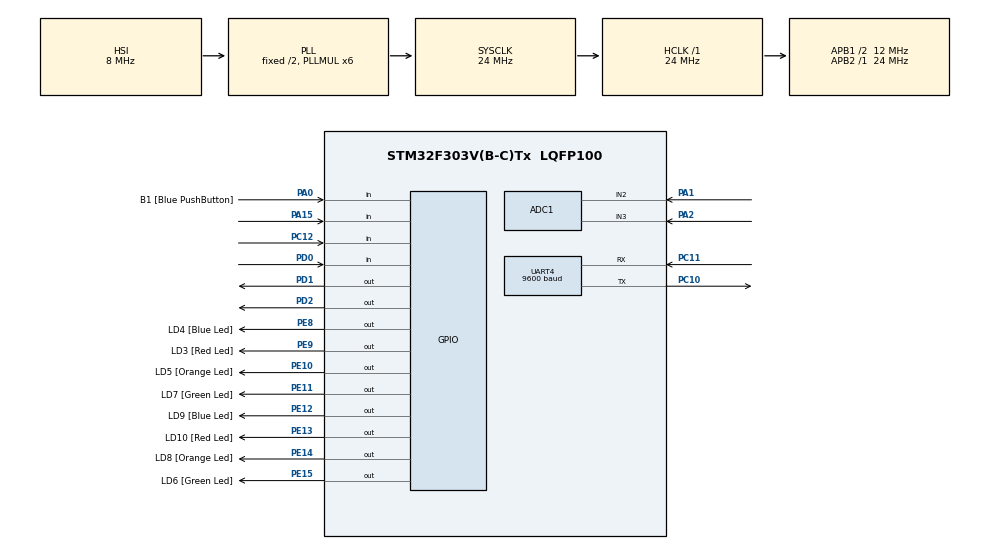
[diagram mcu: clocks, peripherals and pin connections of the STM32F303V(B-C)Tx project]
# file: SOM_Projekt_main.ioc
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ADC1.Channel-0\#ChannelRegularConversion=ADC_CHANNEL_2
ADC1.Channel-1\#ChannelRegularConversion=ADC_CHANNEL_3
ADC1.Channel-2\#ChannelRegularConversion=ADC_CHANNEL_TEMPSENSOR
ADC1.Channel-3\#ChannelRegularConversion=ADC_CHANNEL_VREFINT
ADC1.EOCSelection=ADC_EOC_SEQ_CONV
ADC1.NbrOfConversion=4
ADC1.NbrOfConversionFlag=1
ADC1.Offset-0\#ChannelRegularConversion=0
ADC1.Offset-1\#ChannelRegularConversion=0
ADC1.Offset-2\#ChannelRegularConversion=0
ADC1.Offset-3\#ChannelRegularConversion=0
ADC1.OffsetNumber-0\#ChannelRegularConversion=ADC_OFFSET_NONE
ADC1.OffsetNumber-1\#ChannelRegularConversion=ADC_OFFSET_NONE
ADC1.OffsetNumber-2\#ChannelRegularConversion=ADC_OFFSET_NONE
ADC1.OffsetNumber-3\#ChannelRegularConversion=ADC_OFFSET_NONE
ADC1.Rank-0\#ChannelRegularConversion=1
ADC1.Rank-1\#ChannelRegularConversion=2
ADC1.Rank-2\#ChannelRegularConversion=3
ADC1.Rank-3\#ChannelRegularConversion=4
ADC1.SamplingTime-0\#ChannelRegularConversion=ADC_SAMPLETIME_1CYCLE_5
ADC1.SamplingTime-1\#ChannelRegularConversion=ADC_SAMPLETIME_1CYCLE_5
ADC1.SamplingTime-2\#ChannelRegularConversion=ADC_SAMPLETIME_1CYCLE_5
ADC1.SamplingTime-3\#ChannelRegularConversion=ADC_SAMPLETIME_1CYCLE_5
ADC1.master=1
FREERTOS.BinarySemaphores01=SemaphoreA,Dynamic,NULL;SemaphoreB,Dynamic,NULL
FREERTOS.Mutexes01=MemoryMutex,Dynamic,NULL
FREERTOS.Queues01=InternalProtocol,32,uint16_t,0,Dynamic,NULL,NULL;ReturnMessage,16,uint16_t,0,Dynamic,NULL,NULL
FREERTOS.Tasks01=SupervisorTask,0,512,StartSupervisorTask,Default,NULL,Dynamic,NULL,NULL;ExecTask,-3,512,startExecTask,Default,NULL,Dynamic,NULL,NULL;ADCTask,-3,128,StartADCTask,Default,NULL,Dynamic,NULL,NULL
FREERTOS.configTOTAL_HEAP_SIZE=7000
Mcu.Family=STM32F3
Mcu.Name=STM32F303V(B-C)Tx
Mcu.Package=LQFP100
NVIC.PriorityGroup=NVIC_PRIORITYGROUP_4
NVIC.TIM1_BRK_TIM15_IRQn=true\:0\:0\:false\:false\:true\:false\:false
NVIC.TIM2_IRQn=true\:5\:0\:false\:false\:true\:true\:true
NVIC.TimeBase=TIM1_BRK_TIM15_IRQn
NVIC.TimeBaseIP=TIM15
NVIC.UART4_IRQn=true\:5\:0\:false\:false\:true\:true\:true
PA0.GPIO_Label=B1 [Blue PushButton]
PA0.Signal=GPIO_Input
PA1.Mode=IN2-Single-Ended
PA1.Signal=ADC1_IN2
PA13.GPIO_Label=SWDIO
PA13.Mode=Serial_Wire
PA13.Signal=SYS_JTMS-SWDIO
PA14.GPIO_Label=SWCLK
PA14.Mode=Serial_Wire
PA14.Signal=SYS_JTCK-SWCLK
PA15.Signal=GPIO_Input
PA2.Mode=IN3-Single-Ended
PA2.Signal=ADC1_IN3
PC10.Mode=Asynchronous
PC10.Signal=UART4_TX
PC11.Mode=Asynchronous
PC11.Signal=UART4_RX
PC12.Signal=GPIO_Input
PD0.Signal=GPIO_Input
PD1.GPIO_PuPd=GPIO_PULLDOWN
PD1.Signal=GPIO_Output
PD2.GPIO_PuPd=GPIO_PULLDOWN
PD2.Signal=GPIO_Output
PE10.GPIO_Label=LD5 [Orange Led]
PE10.Signal=GPIO_Output
PE11.GPIO_Label=LD7 [Green Led]
PE11.Signal=GPIO_Output
PE12.GPIO_Label=LD9 [Blue Led]
PE12.Signal=GPIO_Output
PE13.GPIO_Label=LD10 [Red Led]
PE13.Signal=GPIO_Output
PE14.GPIO_Label=LD8 [Orange Led]
PE14.Signal=GPIO_Output
PE15.GPIO_Label=LD6 [Green Led]
PE15.Signal=GPIO_Output
PE8.GPIO_Label=LD4 [Blue Led]
PE8.Signal=GPIO_Output
PE9.GPIO_Label=LD3 [Red Led]
PE9.Signal=GPIO_Output
ProjectManager.HeapSize=0x200
ProjectManager.StackSize=0x400
ProjectManager.TargetToolchain=SW4STM32
RCC.AHBFreq_Value=24000000
RCC.APB1CLKDivider=RCC_HCLK_DIV2
RCC.APB1Freq_Value=12000000
RCC.APB1TimFreq_Value=24000000
RCC.APB2Freq_Value=24000000
RCC.APB2TimFreq_Value=24000000
RCC.CortexFreq_Value=24000000
RCC.HCLKFreq_Value=24000000
RCC.HSE_VALUE=8000000
RCC.HSI_VALUE=8000000
RCC.LSE_VALUE=32768
RCC.PLLMUL=RCC_PLL_MUL6
RCC.SYSCLKFreq_VALUE=24000000
RCC.SYSCLKSourceVirtual=RCC_SYSCLKSOURCE_PLLCLK
RCC.USBFreq_Value=24000000
TIM2.Channel-Output\ Compare1\ No\ Output=TIM_CHANNEL_1
TIM2.Period=19999
TIM2.Prescaler=239
UART4.BaudRate=9600
VP_ADC1_TempSens_Input.Mode=IN-TempSens
VP_ADC1_Vref_Input.Mode=IN-Vrefint
VP_FREERTOS_VS_ENABLE.Mode=Enabled
VP_SYS_VS_tim15.Mode=TIM15
VP_TIM2_VS_ClockSourceINT.Mode=Internal
VP_TIM2_VS_no_output1.Mode=Output Compare1 No Output
board=STM32F3DISCOVERY

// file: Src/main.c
/* USER CODE BEGIN Header */
/**
 ******************************************************************************
 * @file           : main.c
 * @brief          : Main program body
 ******************************************************************************
 * This notice applies to any and all portions of this file
 * that are not between comment pairs USER CODE BEGIN and
 * USER CODE END. Other portions of this file, whether
 * inserted by the user or by software development tools
 * are owned by their respective copyright owners.
 *
 * Copyright (c) 2019 STMicroelectronics International N.V.
 * All rights reserved.
 *
 * Redistribution and use in source and binary forms, with or without
 * modification, are permitted, provided that the following conditions are met:
 *
 * 1. Redistribution of source code must retain the above copyright notice,
 *    this list of conditions and the following disclaimer.
 * 2. Redistributions in binary form must reproduce the above copyright notice,
 *    this list of conditions and the following disclaimer in the documentation
 *    and/or other materials provided with the distribution.
 * 3. Neither the name of STMicroelectronics nor the names of other
 *    contributors to this software may be used to endorse or promote products
 *    derived from this software without specific written permission.
 * 4. This software, including modifications and/or derivative works of this
 *    software, must execute solely and exclusively on microcontroller or
 *    microprocessor devices manufactured by or for STMicroelectronics.
 * 5. Redistribution and use of this software other than as permitted under
 *    this license is void and will automatically terminate your rights under
 *    this license.
 *
 * THIS SOFTWARE IS PROVIDED BY STMICROELECTRONICS AND CONTRIBUTORS "AS IS"
 * AND ANY EXPRESS, IMPLIED OR STATUTORY WARRANTIES, INCLUDING, BUT NOT
 * LIMITED TO, THE IMPLIED WARRANTIES OF MERCHANTABILITY, FITNESS FOR A
 * PARTICULAR PURPOSE AND NON-INFRINGEMENT OF THIRD PARTY INTELLECTUAL PROPERTY
 * RIGHTS ARE DISCLAIMED TO THE FULLEST EXTENT PERMITTED BY LAW. IN NO EVENT
 * SHALL STMICROELECTRONICS OR CONTRIBUTORS BE LIABLE FOR ANY DIRECT, INDIRECT,
 * INCIDENTAL, SPECIAL, EXEMPLARY, OR CONSEQUENTIAL DAMAGES (INCLUDING, BUT NOT
 * LIMITED TO, PROCUREMENT OF SUBSTITUTE GOODS OR SERVICES; LOSS OF USE, DATA,
 * OR PROFITS; OR BUSINESS INTERRUPTION) HOWEVER CAUSED AND ON ANY THEORY OF
 * LIABILITY, WHETHER IN CONTRACT, STRICT LIABILITY, OR TORT (INCLUDING
 * NEGLIGENCE OR OTHERWISE) ARISING IN ANY WAY OUT OF THE USE OF THIS SOFTWARE,
 * EVEN IF ADVISED OF THE POSSIBILITY OF SUCH DAMAGE.
 *
 ******************************************************************************
 */
/* USER CODE END Header */

#include "main.h"
#include "cmsis_os.h"

/* USER CODE BEGIN Includes */
#include "Common_data.h"
#include <string.h>
#include <stdio.h>
#include "Communication.h"
/* USER CODE END Includes */

ADC_HandleTypeDef hadc1;

TIM_HandleTypeDef htim2;

UART_HandleTypeDef huart4;

osThreadId SupervisorTaskHandle;
osThreadId ExecTaskHandle;
osThreadId ADCTaskHandle;
osMessageQId InternalProtocolHandle;
osMessageQId ReturnMessageHandle;
osMutexId MemoryMutexHandle;
osSemaphoreId SemaphoreAHandle;
osSemaphoreId SemaphoreBHandle;

void SystemClock_Config(void);
static void MX_GPIO_Init(void);
static void MX_ADC1_Init(void);
static void MX_UART4_Init(void);
static void MX_TIM2_Init(void);
void StartSupervisorTask(void const * argument);
void startExecTask(void const * argument);
void StartADCTask(void const * argument);

/* USER CODE BEGIN 0 */
#define C  4
#define R  10
uint16_t CMD = 0x0A;
uint16_t PomiarADC = 0;
/* W tab DanePomiarowe - [0] - ADC1, [1] - ADC2, [2] - TS, [3] - VREF */
uint16_t DanePomiarowe [C][R];
uint16_t DataMean [C][1];							/* Tablica na licznie sredniej */
uint16_t DataShare[4][2];
uint16_t *ptrDataMean = &DataMean[0][0];
uint16_t *ptrDanePomiarowe = &DanePomiarowe[0][0];
uint16_t *ptrDataShare = &DataShare[0][0];

uint8_t GlobalCounter = 0;							/* licznik do uzupelniania tablicy */
uint8_t MeasureCounter = 0; 						/* licznik do zmiany kolumny grupy pomiaru pomiaru */

/* USER CODE END 0 */

int main(void)
{

  /* MCU Configuration--------------------------------------------------------*/

  /* Reset of all peripherals, Initializes the Flash interface and the Systick. */
  HAL_Init();

  /* Configure the system clock */
  SystemClock_Config();

  /* Initialize all configured peripherals */
  MX_GPIO_Init();
  MX_ADC1_Init();
  MX_UART4_Init();
  MX_TIM2_Init();

  /* Create the mutex(es) */
  /* definition and creation of MemoryMutex */
  osMutexDef(MemoryMutex);
  MemoryMutexHandle = osMutexCreate(osMutex(MemoryMutex));

  /* Create the semaphores(s) */
  /* definition and creation of SemaphoreA */
  osSemaphoreDef(SemaphoreA);
  SemaphoreAHandle = osSemaphoreCreate(osSemaphore(SemaphoreA), 1);

  /* definition and creation of SemaphoreB */
  osSemaphoreDef(SemaphoreB);
  SemaphoreBHandle = osSemaphoreCreate(osSemaphore(SemaphoreB), 1);

  /* Create the thread(s) */
  /* definition and creation of SupervisorTask */
  osThreadDef(SupervisorTask, StartSupervisorTask, osPriorityNormal, 0, 512);
  SupervisorTaskHandle = osThreadCreate(osThread(SupervisorTask), NULL);

  /* definition and creation of ExecTask */
  osThreadDef(ExecTask, startExecTask, osPriorityIdle, 0, 512);
  ExecTaskHandle = osThreadCreate(osThread(ExecTask), NULL);

  /* definition and creation of ADCTask */
  osThreadDef(ADCTask, StartADCTask, osPriorityIdle, 0, 128);
  ADCTaskHandle = osThreadCreate(osThread(ADCTask), NULL);

  /* Create the queue(s) */
  /* definition and creation of InternalProtocol */
  osMessageQDef(InternalProtocol, 32, uint16_t);
  InternalProtocolHandle = osMessageCreate(osMessageQ(InternalProtocol), NULL);

  /* definition and creation of ReturnMessage */
  osMessageQDef(ReturnMessage, 16, uint16_t);
  ReturnMessageHandle = osMessageCreate(osMessageQ(ReturnMessage), NULL);

  /* Start scheduler */
  osKernelStart();

  /* We should never get here as control is now taken by the scheduler */

  /* Infinite loop */
	while (1)
	{

	}
}

void SystemClock_Config(void)
{
  RCC_OscInitTypeDef RCC_OscInitStruct = {0};
  RCC_ClkInitTypeDef RCC_ClkInitStruct = {0};
  RCC_PeriphCLKInitTypeDef PeriphClkInit = {0};

  /**Initializes the CPU, AHB and APB busses clocks
  */
  RCC_OscInitStruct.OscillatorType = RCC_OSCILLATORTYPE_HSI;
  RCC_OscInitStruct.HSIState = RCC_HSI_ON;
  RCC_OscInitStruct.HSICalibrationValue = RCC_HSICALIBRATION_DEFAULT;
  RCC_OscInitStruct.PLL.PLLState = RCC_PLL_ON;
  RCC_OscInitStruct.PLL.PLLSource = RCC_PLLSOURCE_HSI;
  RCC_OscInitStruct.PLL.PLLMUL = RCC_PLL_MUL6;
  if (HAL_RCC_OscConfig(&RCC_OscInitStruct) != HAL_OK)
  {
    Error_Handler();
  }
  /**Initializes the CPU, AHB and APB busses clocks
  */
  RCC_ClkInitStruct.ClockType = RCC_CLOCKTYPE_HCLK|RCC_CLOCKTYPE_SYSCLK
                              |RCC_CLOCKTYPE_PCLK1|RCC_CLOCKTYPE_PCLK2;
  RCC_ClkInitStruct.SYSCLKSource = RCC_SYSCLKSOURCE_PLLCLK;
  RCC_ClkInitStruct.AHBCLKDivider = RCC_SYSCLK_DIV1;
  RCC_ClkInitStruct.APB1CLKDivider = RCC_HCLK_DIV2;
  RCC_ClkInitStruct.APB2CLKDivider = RCC_HCLK_DIV1;

  if (HAL_RCC_ClockConfig(&RCC_ClkInitStruct, FLASH_LATENCY_0) != HAL_OK)
  {
    Error_Handler();
  }
  PeriphClkInit.PeriphClockSelection = RCC_PERIPHCLK_UART4|RCC_PERIPHCLK_ADC12;
  PeriphClkInit.Uart4ClockSelection = RCC_UART4CLKSOURCE_PCLK1;
  PeriphClkInit.Adc12ClockSelection = RCC_ADC12PLLCLK_DIV1;
  if (HAL_RCCEx_PeriphCLKConfig(&PeriphClkInit) != HAL_OK)
  {
    Error_Handler();
  }
}

static void MX_ADC1_Init(void)
{

  ADC_MultiModeTypeDef multimode = {0};
  ADC_ChannelConfTypeDef sConfig = {0};

  /**Common config
  */
  hadc1.Instance = ADC1;
  hadc1.Init.ClockPrescaler = ADC_CLOCK_ASYNC_DIV1;
  hadc1.Init.Resolution = ADC_RESOLUTION_12B;
  hadc1.Init.ScanConvMode = ADC_SCAN_ENABLE;
  hadc1.Init.ContinuousConvMode = DISABLE;
  hadc1.Init.DiscontinuousConvMode = DISABLE;
  hadc1.Init.ExternalTrigConvEdge = ADC_EXTERNALTRIGCONVEDGE_NONE;
  hadc1.Init.ExternalTrigConv = ADC_SOFTWARE_START;
  hadc1.Init.DataAlign = ADC_DATAALIGN_RIGHT;
  hadc1.Init.NbrOfConversion = 4;
  hadc1.Init.DMAContinuousRequests = DISABLE;
  hadc1.Init.EOCSelection = ADC_EOC_SEQ_CONV;
  hadc1.Init.LowPowerAutoWait = DISABLE;
  hadc1.Init.Overrun = ADC_OVR_DATA_OVERWRITTEN;
  if (HAL_ADC_Init(&hadc1) != HAL_OK)
  {
    Error_Handler();
  }
  /**Configure the ADC multi-mode
  */
  multimode.Mode = ADC_MODE_INDEPENDENT;
  if (HAL_ADCEx_MultiModeConfigChannel(&hadc1, &multimode) != HAL_OK)
  {
    Error_Handler();
  }
  /**Configure Regular Channel
  */
  sConfig.Channel = ADC_CHANNEL_2;
  sConfig.Rank = ADC_REGULAR_RANK_1;
  sConfig.SingleDiff = ADC_SINGLE_ENDED;
  sConfig.SamplingTime = ADC_SAMPLETIME_1CYCLE_5;
  sConfig.OffsetNumber = ADC_OFFSET_NONE;
  sConfig.Offset = 0;
  if (HAL_ADC_ConfigChannel(&hadc1, &sConfig) != HAL_OK)
  {
    Error_Handler();
  }
  /**Configure Regular Channel
  */
  sConfig.Channel = ADC_CHANNEL_3;
  sConfig.Rank = ADC_REGULAR_RANK_2;
  if (HAL_ADC_ConfigChannel(&hadc1, &sConfig) != HAL_OK)
  {
    Error_Handler();
  }
  /**Configure Regular Channel
  */
  sConfig.Channel = ADC_CHANNEL_TEMPSENSOR;
  sConfig.Rank = ADC_REGULAR_RANK_3;
  if (HAL_ADC_ConfigChannel(&hadc1, &sConfig) != HAL_OK)
  {
    Error_Handler();
  }
  /**Configure Regular Channel
  */
  sConfig.Channel = ADC_CHANNEL_VREFINT;
  sConfig.Rank = ADC_REGULAR_RANK_4;
  if (HAL_ADC_ConfigChannel(&hadc1, &sConfig) != HAL_OK)
  {
    Error_Handler();
  }

}

static void MX_TIM2_Init(void)
{

  TIM_ClockConfigTypeDef sClockSourceConfig = {0};
  TIM_MasterConfigTypeDef sMasterConfig = {0};
  TIM_OC_InitTypeDef sConfigOC = {0};

  htim2.Instance = TIM2;
  htim2.Init.Prescaler = 239;
  htim2.Init.CounterMode = TIM_COUNTERMODE_UP;
  htim2.Init.Period = 19999;
  htim2.Init.ClockDivision = TIM_CLOCKDIVISION_DIV1;
  htim2.Init.AutoReloadPreload = TIM_AUTORELOAD_PRELOAD_DISABLE;
  if (HAL_TIM_Base_Init(&htim2) != HAL_OK)
  {
    Error_Handler();
  }
  sClockSourceConfig.ClockSource = TIM_CLOCKSOURCE_INTERNAL;
  if (HAL_TIM_ConfigClockSource(&htim2, &sClockSourceConfig) != HAL_OK)
  {
    Error_Handler();
  }
  if (HAL_TIM_OC_Init(&htim2) != HAL_OK)
  {
    Error_Handler();
  }
  sMasterConfig.MasterOutputTrigger = TIM_TRGO_RESET;
  sMasterConfig.MasterSlaveMode = TIM_MASTERSLAVEMODE_DISABLE;
  if (HAL_TIMEx_MasterConfigSynchronization(&htim2, &sMasterConfig) != HAL_OK)
  {
    Error_Handler();
  }
  sConfigOC.OCMode = TIM_OCMODE_TIMING;
  sConfigOC.Pulse = 0;
  sConfigOC.OCPolarity = TIM_OCPOLARITY_HIGH;
  sConfigOC.OCFastMode = TIM_OCFAST_DISABLE;
  if (HAL_TIM_OC_ConfigChannel(&htim2, &sConfigOC, TIM_CHANNEL_1) != HAL_OK)
  {
    Error_Handler();
  }

}

static void MX_UART4_Init(void)
{

  huart4.Instance = UART4;
  huart4.Init.BaudRate = 9600;
  huart4.Init.WordLength = UART_WORDLENGTH_8B;
  huart4.Init.StopBits = UART_STOPBITS_1;
  huart4.Init.Parity = UART_PARITY_NONE;
  huart4.Init.Mode = UART_MODE_TX_RX;
  huart4.Init.HwFlowCtl = UART_HWCONTROL_NONE;
  huart4.Init.OverSampling = UART_OVERSAMPLING_16;
  huart4.Init.OneBitSampling = UART_ONE_BIT_SAMPLE_DISABLE;
  huart4.AdvancedInit.AdvFeatureInit = UART_ADVFEATURE_NO_INIT;
  if (HAL_UART_Init(&huart4) != HAL_OK)
  {
    Error_Handler();
  }

}

static void MX_GPIO_Init(void)
{
  GPIO_InitTypeDef GPIO_InitStruct = {0};

  /* GPIO Ports Clock Enable */
  __HAL_RCC_GPIOA_CLK_ENABLE();
  __HAL_RCC_GPIOE_CLK_ENABLE();
  __HAL_RCC_GPIOC_CLK_ENABLE();
  __HAL_RCC_GPIOD_CLK_ENABLE();

  /*Configure GPIO pin Output Level */
  HAL_GPIO_WritePin(GPIOE, LD4_Pin|LD3_Pin|LD5_Pin|LD7_Pin
                          |LD9_Pin|LD10_Pin|LD8_Pin|LD6_Pin, GPIO_PIN_RESET);

  /*Configure GPIO pin Output Level */
  HAL_GPIO_WritePin(GPIOD, GPIO_PIN_1|GPIO_PIN_2, GPIO_PIN_RESET);

  /*Configure GPIO pins : B1_Pin PA15 */
  GPIO_InitStruct.Pin = B1_Pin|GPIO_PIN_15;
  GPIO_InitStruct.Mode = GPIO_MODE_INPUT;
  GPIO_InitStruct.Pull = GPIO_NOPULL;
  HAL_GPIO_Init(GPIOA, &GPIO_InitStruct);

  /*Configure GPIO pins : LD4_Pin LD3_Pin LD5_Pin LD7_Pin
                           LD9_Pin LD10_Pin LD8_Pin LD6_Pin */
  GPIO_InitStruct.Pin = LD4_Pin|LD3_Pin|LD5_Pin|LD7_Pin
                          |LD9_Pin|LD10_Pin|LD8_Pin|LD6_Pin;
  GPIO_InitStruct.Mode = GPIO_MODE_OUTPUT_PP;
  GPIO_InitStruct.Pull = GPIO_NOPULL;
  GPIO_InitStruct.Speed = GPIO_SPEED_FREQ_LOW;
  HAL_GPIO_Init(GPIOE, &GPIO_InitStruct);

  /*Configure GPIO pin : PC12 */
  GPIO_InitStruct.Pin = GPIO_PIN_12;
  GPIO_InitStruct.Mode = GPIO_MODE_INPUT;
  GPIO_InitStruct.Pull = GPIO_NOPULL;
  HAL_GPIO_Init(GPIOC, &GPIO_InitStruct);

  /*Configure GPIO pin : PD0 */
  GPIO_InitStruct.Pin = GPIO_PIN_0;
  GPIO_InitStruct.Mode = GPIO_MODE_INPUT;
  GPIO_InitStruct.Pull = GPIO_NOPULL;
  HAL_GPIO_Init(GPIOD, &GPIO_InitStruct);

  /*Configure GPIO pins : PD1 PD2 */
  GPIO_InitStruct.Pin = GPIO_PIN_1|GPIO_PIN_2;
  GPIO_InitStruct.Mode = GPIO_MODE_OUTPUT_PP;
  GPIO_InitStruct.Pull = GPIO_PULLDOWN;
  GPIO_InitStruct.Speed = GPIO_SPEED_FREQ_LOW;
  HAL_GPIO_Init(GPIOD, &GPIO_InitStruct);

}

void StartSupervisorTask(void const * argument)
{

  /* USER CODE BEGIN 5 */
	/* Infinite loop */
	uint8_t ReceiveBuffer[COMMAND_SIZE];
	uint16_t ReturnBuffer;
	uint8_t ReturnString[15];
	const uint8_t * zeros = "000";
	enInternalProtocolCommand_t InternalProtocolCommand = enInternProtocolCommand_Error;

	Communication_Initialize(&huart4);

	//HAL_UART_Receive_IT(&huart4, ReceiveBuffer, 1);
	CMD = MEASURE;
	for(;;)
	{
		HAL_GPIO_TogglePin(GPIOE, GPIO_PIN_8);
		if (xQueueReceive(&ReturnMessageHandle, &ReturnBuffer, 0))
		{
			sprintf(ReturnString, "%d", ReturnBuffer);
			HAL_UART_Transmit(&huart4, &ReturnString, 15, 100);

		}
		else
		{
			strcpy(ReceiveBuffer, zeros);
			HAL_UART_Receive(&huart4, ReceiveBuffer, 3, 500);
			if(strcmp(ReceiveBuffer, zeros) != 0)
			{
				InternalProtocolCommand = Communication_Process(ReceiveBuffer);
				if ( InternalProtocolCommand != enInternProtocolCommand_Error)
				{
					if(xQueueSend(&InternalProtocolHandle, &InternalProtocolCommand, 0) != pdTRUE)
					{
					/*	If the internal command queue is full, the ExecutionTask might be choked
						additional osDelay will help with the command process.*/
						HAL_GPIO_WritePin(GPIOE, GPIO_PIN_13, GPIO_PIN_SET);
						osDelay(1000);
						HAL_GPIO_WritePin(GPIOE, GPIO_PIN_13, GPIO_PIN_RESET);
					}
					InternalProtocolCommand = enInternProtocolCommand_Error;
				}

			}
			osDelay(200);
			HAL_GPIO_TogglePin(GPIOE, GPIO_PIN_8);
		}

	}
  /* USER CODE END 5 */
}

/* USER CODE BEGIN Header_startExecTask */
/**
 * @brief Function im`plementing the ExecTask thread.
 * @param argument: Not used
 * @retval None
 */
/* USER CODE END Header_startExecTask */
void startExecTask(void const * argument)
{
  /* USER CODE BEGIN startExecTask */
	/* Infinite loop */
	for(;;)
	{
		/* Uzycie semafora binarnego */
		/* portTICK_RATE_MS == 1 */
		/* Jezeli semafor jest wolny to wtedy przejdz dalej do wykonywania w¹tku */

		/* Pomiar ADC */
		if(CMD == MEASURE)
		{
			if ((xSemaphoreTake(SemaphoreAHandle, 1000/ portTICK_RATE_MS)) == pdTRUE ){
				/* Pomiar ADC */
				HAL_ADC_Start(&hadc1);
				/* pomiar na CH1 */
				HAL_ADC_PollForConversion(&hadc1, 50);
				PomiarADC = HAL_ADC_GetValue(&hadc1);
				ptrDanePomiarowe = &DanePomiarowe[MeasureCounter][GlobalCounter];
				*ptrDanePomiarowe = PomiarADC;
				MeasureCounter++;									/* zmiana licznika grupy pomiarów */

				/* pomiar na CH2 - chyba*/
				HAL_ADC_PollForConversion(&hadc1, 50);
				PomiarADC = HAL_ADC_GetValue(&hadc1);
				ptrDanePomiarowe = &DanePomiarowe[MeasureCounter][GlobalCounter];
				*ptrDanePomiarowe = PomiarADC;
				MeasureCounter++;									/* zmiana licznika grupy pomiarów */

				/* pomiar na TempSens - chyba*/
				HAL_ADC_PollForConversion(&hadc1, 50);
				PomiarADC = HAL_ADC_GetValue(&hadc1);
				ptrDanePomiarowe = &DanePomiarowe[MeasureCounter][GlobalCounter];
				*ptrDanePomiarowe = PomiarADC;
				MeasureCounter++;

				/* pomiar na VREF - chyba*/
				HAL_ADC_PollForConversion(&hadc1, 50);
				PomiarADC = HAL_ADC_GetValue(&hadc1);
				ptrDanePomiarowe = &DanePomiarowe[MeasureCounter][GlobalCounter];
				*ptrDanePomiarowe = PomiarADC;
				MeasureCounter++;

				HAL_ADC_Stop(&hadc1);

				MeasureCounter = 0;
				GlobalCounter ++;								/* Inc licznika */
				if(GlobalCounter == 10)	{						/* Zerowanie liczniaka */
					GlobalCounter = 0;
				}

				/* Sygnalizacja LED */
				for(int j = 0; j<4; j++) {
					HAL_GPIO_TogglePin(GPIOE, GPIO_PIN_9);
					vTaskDelay( 300 / portTICK_RATE_MS );
				}
			}
			xSemaphoreGive(SemaphoreAHandle);/* zwalnianie semafora */
			CMD = MEAN;
		} else if(CMD == MEAN) {			/* Liczenie sredniej */
			if ((xSemaphoreTake(SemaphoreAHandle, 1000/ portTICK_RATE_MS)) == pdTRUE ){
				for(int j = 0; j<4; j++) {
					HAL_GPIO_TogglePin(GPIOE, GPIO_PIN_10);
					vTaskDelay( 300 / portTICK_RATE_MS );
				}
			}
			/* Liczenie sredniej */
			for(int i = 0; i<R; i++) {
				DataMean[0][0] += DanePomiarowe[0][i];
				DataMean[1][0] += DanePomiarowe[1][i];
				DataMean[2][0] += DanePomiarowe[2][i];
				DataMean[3][0] += DanePomiarowe[3][i];
			}
			DataMean[0][0] /= R;
			DataMean[1][0] /= R;
			DataMean[2][0] /= R;
			DataMean[3][0] /= R;

			xSemaphoreGive(SemaphoreAHandle);		/* zwalnianie semafora */
			CMD = STORE;
		}
		else if(CMD == STORE){		/* Zapis do pamieci */
			if ((xSemaphoreTake(SemaphoreAHandle, 1000/ portTICK_RATE_MS)) == pdTRUE ) {
				for(int j = 0; j<4; j++) {
					HAL_GPIO_TogglePin(GPIOE, GPIO_PIN_11);
					vTaskDelay( 300 / portTICK_RATE_MS );
				HAL_GPIO_TogglePin(GPIOE, GPIO_PIN_11);
				}
			}

			/* przepisanie tablicy do tablicy wysylkowej */
			for(int i = 0; i<4; i++) {
				DataShare[i][0] = DanePomiarowe[i][9];
				DataShare[i][1] = DataMean[i][0];
			}

			xSemaphoreGive(SemaphoreAHandle);		/* zwalnianie semafora */
			CMD = MEASURE;
		}
	}

  /* USER CODE END startExecTask */
}

void StartADCTask(void const * argument)
{
	for(;;)
	{
		osDelay(1);
	}
}

void HAL_TIM_PeriodElapsedCallback(TIM_HandleTypeDef *htim)
{
  if (htim->Instance == TIM15) {
    HAL_IncTick();
  }
}

void Error_Handler(void)
{
}

/************************ (C) COPYRIGHT STMicroelectronics *****END OF FILE****/
